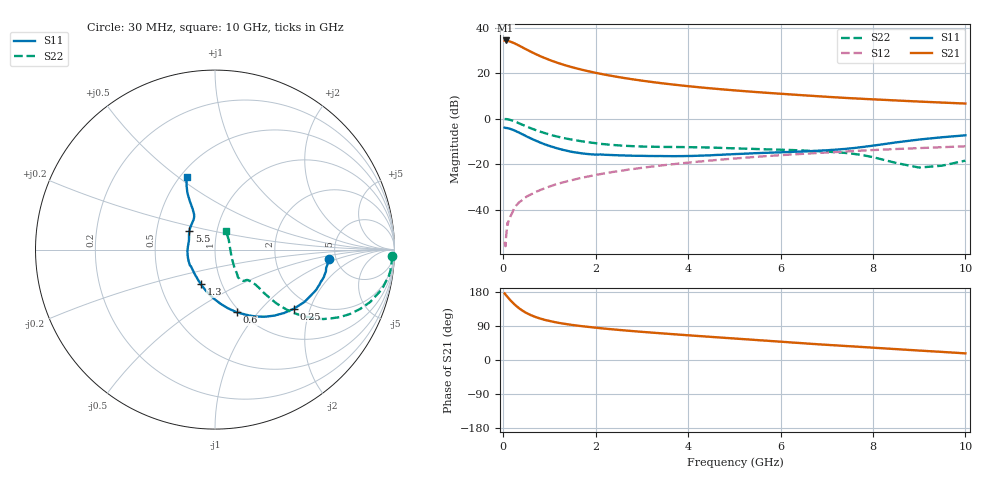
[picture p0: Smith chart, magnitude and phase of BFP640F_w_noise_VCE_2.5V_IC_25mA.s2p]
! Infineon Technologies  Discrete & RF Semiconductors
! BFP640F
! VCE =  2.5 V,  IC =  25 mA
! Common Emitter S-Parameters:  Apr 2013
# GHz  S  MA  R  50
!  f  S11  S21  S12  S22
! GHz  MAG  ANG  MAG  ANG  MAG  ANG  MAG  ANG
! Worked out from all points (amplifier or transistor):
!   99 points, 30 MHz to 10 GHz, reference 50 ohm
!   highest |S21| = 34.4 dB at 50 MHz (marker M1)
!   |S21| within 3 dB of that: start of sweep to 412.5 MHz
!   unconditionally stable (mu >= 1): 2.028 GHz to end of sweep
!   at 350 MHz: K = 0.42, MSG = 34.3 dB, |S12| = -36.6 dB
!   at 3.5 GHz: K = 1.05, MAG = 16.5 dB, |S12| = -20.3 dB
!   at 10 GHz: K = 1.04, MAG = 8.1 dB, |S12| = -12.1 dB
!   lowest NFmin = 0.90 dB at 450 MHz
!   S11 on the Smith chart (normalised r, x): 30 MHz: 4.41, -0.75; 250 MHz: 1.66, -1.56; 600 MHz: 0.96, -0.78; 1.3 GHz: 0.80, -0.32; 5.5 GHz: 0.74, +0.16; 10 GHz: 0.54, +0.54
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0.03  0.6392 -4.5  52.08 175.7  0.002 77.1  0.9874 -2.0
0.05  0.6315 -7.8  52.43 172.8  0.0016 86.3  0.9865 -4.2
0.11  0.616 -17.1  50.95 163.9  0.0055 77.2  0.9693 -10.5
0.15  0.6014 -23.1  49.49 158.4  0.007 80.9  0.9466 -14.4
0.2  0.578 -30.2  47.38 152.0  0.0089 78.7  0.9123 -18.7
0.25  0.5501 -36.7  45.03 146.1  0.0116 76.9  0.873 -22.3
0.3  0.5218 -42.7  42.56 140.8  0.0131 75.3  0.832 -25.6
0.4  0.4647 -53.6  37.7 131.6  0.0161 73.4  0.751 -30.7
0.5  0.4127 -62.7  33.34 124.2  0.0194 72.5  0.6814 -34.3
0.6  0.3698 -70.9  29.58 118.3  0.0219 70.9  0.6193 -36.9
0.7  0.3327 -78.0  26.4 113.4  0.0247 70.5  0.5671 -38.7
0.9  0.2752 -90.8  21.51 105.9  0.0299 69.9  0.4848 -40.7
1.1  0.2359 -102.1  18 100.4  0.0353 69.6  0.4237 -41.4
1.3  0.2071 -112.5  15.42 96.0  0.0403 69.1  0.3796 -41.5
1.7  0.1744 -131.8  11.96 89.3  0.0508 68.4  0.3208 -40.9
2.4  0.1593 -158.6  8.561 80.5  0.0688 65.9  0.2652 -42.0
3.4  0.1523 175.0  6.091 70.6  0.094 61.6  0.2416 -44.9
5.1  0.1693 148.5  4.134 55.9  0.1367 53.2  0.2233 -49.4
5.5  0.1764 144.2  3.85 52.5  0.1469 50.9  0.2166 -50.0
6.7  0.1963 130.0  3.181 42.4  0.1752 44.2  0.197 -49.9
8.5  0.3031 117.5  2.526 28.7  0.2171 33.8  0.1073 -28.4
10  0.4337 111.3  2.161 17.5  0.2491 25.1  0.1208 59.5
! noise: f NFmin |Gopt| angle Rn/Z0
0.45  0.9  0.15  -174  0.06
0.9  0.92  0.16  -169  0.06
1.5  0.95  0.16  -163  0.07
1.9  0.98  0.17  -157  0.08
2.4  1.01  0.18  -149  0.08
3.5  1.09  0.19  -139  0.1
5.5  1.27  0.22  -122  0.13
10  1.73  0.43  -86  0.42
